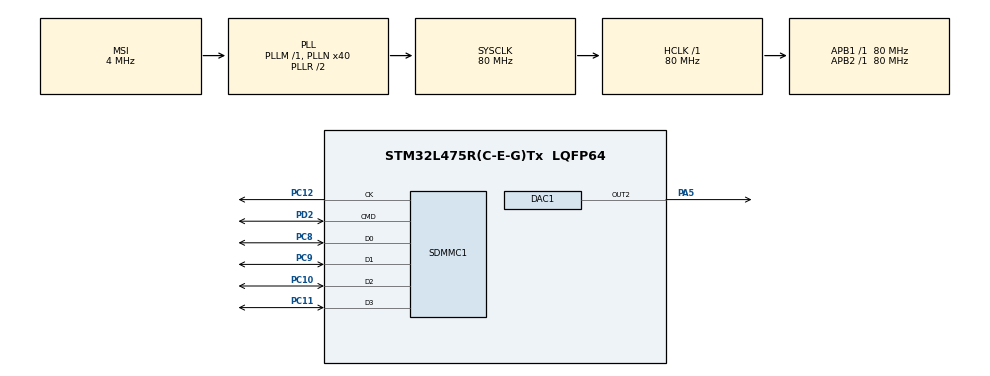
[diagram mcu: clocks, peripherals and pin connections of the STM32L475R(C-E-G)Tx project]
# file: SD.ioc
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DAC1.DAC_Channel-DAC_OUT2=DAC_CHANNEL_2
FATFS.USE_DMA_CODE_SD=0
FATFS._MAX_SS=4096
Mcu.Family=STM32L4
Mcu.Name=STM32L475R(C-E-G)Tx
Mcu.Package=LQFP64
NVIC.PriorityGroup=NVIC_PRIORITYGROUP_4
NVIC.SDMMC1_IRQn=true\:0\:0\:false\:false\:true\:true\:true
NVIC.TIM6_DAC_IRQn=true\:0\:0\:false\:false\:true\:true\:true
PA5.Signal=COMP_DAC12_group
PC10.GPIO_PuPd=GPIO_PULLUP
PC10.Mode=SD_4_bits_Wide_bus
PC10.Signal=SDMMC1_D2
PC11.GPIO_PuPd=GPIO_PULLUP
PC11.Mode=SD_4_bits_Wide_bus
PC11.Signal=SDMMC1_D3
PC12.Mode=SD_4_bits_Wide_bus
PC12.Signal=SDMMC1_CK
PC8.GPIO_PuPd=GPIO_PULLUP
PC8.Mode=SD_4_bits_Wide_bus
PC8.Signal=SDMMC1_D0
PC9.GPIO_PuPd=GPIO_PULLUP
PC9.Mode=SD_4_bits_Wide_bus
PC9.Signal=SDMMC1_D1
PD2.GPIO_PuPd=GPIO_PULLUP
PD2.Mode=SD_4_bits_Wide_bus
PD2.Signal=SDMMC1_CMD
ProjectManager.HeapSize=0x200
ProjectManager.StackSize=0x400
ProjectManager.TargetToolchain=TrueSTUDIO
RCC.ADCFreq_Value=32000000
RCC.AHBFreq_Value=80000000
RCC.APB1Freq_Value=80000000
RCC.APB1TimFreq_Value=80000000
RCC.APB2Freq_Value=80000000
RCC.APB2TimFreq_Value=80000000
RCC.CortexFreq_Value=80000000
RCC.HCLKFreq_Value=80000000
RCC.HSE_VALUE=8000000
RCC.HSI_VALUE=16000000
RCC.LSE_VALUE=32768
RCC.MSI_VALUE=4000000
RCC.PLLN=40
RCC.PLLSAI1N=16
RCC.SYSCLKFreq_VALUE=80000000
RCC.SYSCLKSource=RCC_SYSCLKSOURCE_PLLCLK
RCC.USBFreq_Value=32000000
RCC.VCOOutputFreq_Value=160000000
SH.COMP_DAC12_group.0=DAC1_OUT2,DAC_OUT2
TIM6.AutoReloadPreload=TIM_AUTORELOAD_PRELOAD_ENABLE
TIM6.Period=1
TIM6.Prescaler=2500
VP_FATFS_VS_SDIO.Mode=SDIO
VP_TIM6_VS_ClockSourceINT.Mode=Enable_Timer
board=SD

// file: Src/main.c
/* USER CODE BEGIN Header */
/**
  ******************************************************************************
  * @file           : main.c
  * @brief          : Main program body
  ******************************************************************************
  * @attention
  *
  * <h2><center>&copy; Copyright (c) 2019 STMicroelectronics.
  * All rights reserved.</center></h2>
  *
  * This software component is licensed by ST under Ultimate Liberty license
  * SLA0044, the "License"; You may not use this file except in compliance with
  * the License. You may obtain a copy of the License at:
  *                             www.st.com/SLA0044
  *
  ******************************************************************************
  */
/* USER CODE END Header */

#include "main.h"
#include "fatfs.h"

/* USER CODE BEGIN Includes */
#include <string.h>
/* USER CODE END Includes */

/* USER CODE BEGIN PTD */
//#define	DEBUG_VIEW_FREQ_IRQ
//#define	DEBUG_ANY_MANUAL_SIGNAL
#define	NORMAL_MODE
/* USER CODE END PTD */

/* USER CODE BEGIN PD */
//#define	DEBUG_TEST_READ_TEXT_FROM_SD
/* USER CODE END PD */

DAC_HandleTypeDef hdac1;

SD_HandleTypeDef hsd1;

TIM_HandleTypeDef htim6;

/* USER CODE BEGIN PV */
/* Private variables ---------------------------------------------------------*/
uint8_t curBufIdx = 0;
uint8_t wavBuf[2][WAV_BUF_SIZE];
uint16_t curBufOffset = 0;
uint8_t wavReadFlag = 0;
uint32_t wavDataSize = 0;
uint32_t curWavIdx = 0;
uint8_t stopFlag = 0;

FATFS fileSystem;
FIL audioFile;
uint32_t readBytes = 0;

/* USER CODE END PV */

void SystemClock_Config(void);
static void MX_GPIO_Init(void);
static void MX_SDMMC1_SD_Init(void);
static void MX_DAC1_Init(void);
static void MX_TIM6_Init(void);
/* USER CODE BEGIN PFP */
/* Private function prototypes -----------------------------------------------*/

/* USER CODE END PFP */

/* USER CODE BEGIN 0 */
#ifdef	DEBUG_TEST_READ_TEXT_FROM_SD
FATFS SDFatFs;  /* File system object for SD card logical drive */
FIL MyFile;     /* File object */
char SD_Path[4];  /* SD logical drive path */
#endif
uint16_t _val;
uint16_t _cnt;
#define STEP_VAL	1
#define MAX_VAL		0xFFF
/* USER CODE END 0 */

int main(void)
{
  /* USER CODE BEGIN 1 */
	_val = 0;
	int8_t _flag = 0;
  /* USER CODE END 1 */

  /* MCU Configuration--------------------------------------------------------*/

  /* Reset of all peripherals, Initializes the Flash interface and the Systick. */
  HAL_Init();

  /* Configure the system clock */
  SystemClock_Config();

  /* Initialize all configured peripherals */
  MX_GPIO_Init();
  MX_SDMMC1_SD_Init();
  MX_FATFS_Init();
  MX_DAC1_Init();
  MX_TIM6_Init();
  /* USER CODE BEGIN 2 */
#ifdef	NORMAL_MODE
  FRESULT res;
  FRESULT resTryMount;
  FRESULT resTryOpenFile;
  FRESULT resTryReadFile;
  resTryMount = f_mount(&fileSystem, SDPath, 1);
//  uint8_t path[] = "audio.wav";//шипение
  uint8_t path[] = "gardenss.wav";//v
//  uint8_t path[] = "gandenss22KHz.wav";
//  uint8_t path[] = "Dubstep.wav";//v
//  uint8_t path[] = "ClearDay.wav";//v
//  uint8_t path[] = "Ircastapianos8.wav";//x

  resTryOpenFile = f_open(&audioFile, (char*)path, FA_READ);
  //#2
  //Таким образом, находим позицию в буфере, которая соответствует символу ‘d’ и прибавляем к этому значению 8 (4 байта для ‘data’ и 4 байта для размера данных):
  uint16_t dataOffset = 0;
  resTryReadFile = f_read(&audioFile, wavBuf[0], WAV_BUF_SIZE, &readBytes);
  for (uint16_t i = 0; i < (WAV_BUF_SIZE - 3); i++)
  {
      if ((wavBuf[0][i] == 'd') && (wavBuf[0][i + 1] == 'a') &&
          (wavBuf[0][i + 2] == 't') && (wavBuf[0][i + 3] == 'a'))
      {
          dataOffset = i + 8;
          break;
      }
  }

  //#3
  //Заголовок обнаружен, перемещаем указатель FatFs для работы с файлом на аудио-данные и заодно определяем количество байт данных. Для этого вычитаем из общего размера файла размер заголовка:
  res = f_lseek(&audioFile, dataOffset);
  wavDataSize = f_size(&audioFile) - dataOffset;//[байт] длина полной последовательности аудио данных
  //#3
  //нужно быстро выводить данные на ЦАП. для этого сделаем буферизацию.
  //в два буфера wavBuf[0] и wavBuf[1] будем пихать массив данных из файла
  //когда выводим на ЦАП буфер 1 заполняем буфер 2 и наоборот
//  Реализуем этот механизм и, первым делом, заполняем оба буфера данными:
    res = f_read(&audioFile, wavBuf[0], WAV_BUF_SIZE, &readBytes);
    res = f_read(&audioFile, wavBuf[1], WAV_BUF_SIZE, &readBytes);
    //#5
#endif
//  Поскольку данные готовы, спокойно включаем DAC и TIM6 на генерацию прерываний:
    HAL_DAC_Start(&hdac1, DAC_CHANNEL_2);
    HAL_TIM_Base_Start_IT(&htim6);
  /* USER CODE END 2 */

  /* Infinite loop */
  /* USER CODE BEGIN WHILE */

#ifdef	DEBUG_TEST_READ_TEXT_FROM_SD
  //код проверки чтения SD карты
    uint8_t* bw;
    FRESULT res;
  res = f_mount(&SDFatFs, (TCHAR const*)SD_Path, 1);
	 if(res != FR_OK)
	    Error_Handler();
	  else
	  {
		  uint8_t arr[] = {0, 1, 2};
		  uint8_t arrrd[20];

		  res = f_open(&MyFile, "adr.txt", FA_READ|FA_WRITE);
		  res = f_read(&MyFile, arrrd, 10, bw);
		  res = f_write(&MyFile, arr, 3, bw);
//          if(f_open(&MyFile, ".\adr.txt", FA_READ) != FR_OK)
//                    Error_Handler();
//            else
//            {
//                          f_close(&MyFile);
//            }
	  }
#endif

  while (1)
  {
#ifdef	DEBUG_ANY_MANUAL_SIGNAL
//	  HAL_Delay(10);

//		if(_cnt < 2)
//			_cnt++;
//		else
//			_cnt = 0;
//
//		if(_cnt == 0)
//		{
			if(_flag == 0)
			{
				if(_val < MAX_VAL)
					_val = _val + STEP_VAL;
				else
					_flag = 1;

			}
			else
			{
				if(_val > 0)
					_val = _val - STEP_VAL;
				else
					_flag = 0;
			}

//		}
#endif
#ifdef	NORMAL_MODE
	  if (wavReadFlag == 1)
	  {
//		  все данные из буфера озвучены. буфер полошел к концу. его нужно обновить"

		  //если сейчас озвучивается буфер 1 то заполняется буфер 2, и наоборот
	      uint8_t readBufIdx = 0;
	      if (curBufIdx == 0)
	          readBufIdx = 1;
	      res = f_read(&audioFile, wavBuf[readBufIdx], WAV_BUF_SIZE, &readBytes);
	      wavReadFlag = 0;
	  }
	  //#
	  //Кроме того, сразу же в while(1) помещаем код, который отвечает за окончание воспроизведения, когда файл подошел к концу:
	  if (stopFlag == 1)
	  {
		  //просто закрываем файл
	      res = f_close(&audioFile);
	      stopFlag = 0;
	  }
#endif

    /* USER CODE END WHILE */

  }
}

void SystemClock_Config(void)
{
  RCC_OscInitTypeDef RCC_OscInitStruct = {0};
  RCC_ClkInitTypeDef RCC_ClkInitStruct = {0};
  RCC_PeriphCLKInitTypeDef PeriphClkInit = {0};

  /** Initializes the CPU, AHB and APB busses clocks
  */
  RCC_OscInitStruct.OscillatorType = RCC_OSCILLATORTYPE_MSI;
  RCC_OscInitStruct.MSIState = RCC_MSI_ON;
  RCC_OscInitStruct.MSICalibrationValue = 0;
  RCC_OscInitStruct.MSIClockRange = RCC_MSIRANGE_6;
  RCC_OscInitStruct.PLL.PLLState = RCC_PLL_ON;
  RCC_OscInitStruct.PLL.PLLSource = RCC_PLLSOURCE_MSI;
  RCC_OscInitStruct.PLL.PLLM = 1;
  RCC_OscInitStruct.PLL.PLLN = 40;
  RCC_OscInitStruct.PLL.PLLP = RCC_PLLP_DIV7;
  RCC_OscInitStruct.PLL.PLLQ = RCC_PLLQ_DIV2;
  RCC_OscInitStruct.PLL.PLLR = RCC_PLLR_DIV2;
  if (HAL_RCC_OscConfig(&RCC_OscInitStruct) != HAL_OK)
  {
    Error_Handler();
  }
  /** Initializes the CPU, AHB and APB busses clocks
  */
  RCC_ClkInitStruct.ClockType = RCC_CLOCKTYPE_HCLK|RCC_CLOCKTYPE_SYSCLK
                              |RCC_CLOCKTYPE_PCLK1|RCC_CLOCKTYPE_PCLK2;
  RCC_ClkInitStruct.SYSCLKSource = RCC_SYSCLKSOURCE_PLLCLK;
  RCC_ClkInitStruct.AHBCLKDivider = RCC_SYSCLK_DIV1;
  RCC_ClkInitStruct.APB1CLKDivider = RCC_HCLK_DIV1;
  RCC_ClkInitStruct.APB2CLKDivider = RCC_HCLK_DIV1;

  if (HAL_RCC_ClockConfig(&RCC_ClkInitStruct, FLASH_LATENCY_4) != HAL_OK)
  {
    Error_Handler();
  }
  PeriphClkInit.PeriphClockSelection = RCC_PERIPHCLK_SDMMC1;
  PeriphClkInit.Sdmmc1ClockSelection = RCC_SDMMC1CLKSOURCE_PLLSAI1;
  PeriphClkInit.PLLSAI1.PLLSAI1Source = RCC_PLLSOURCE_MSI;
  PeriphClkInit.PLLSAI1.PLLSAI1M = 1;
  PeriphClkInit.PLLSAI1.PLLSAI1N = 16;
  PeriphClkInit.PLLSAI1.PLLSAI1P = RCC_PLLP_DIV7;
  PeriphClkInit.PLLSAI1.PLLSAI1Q = RCC_PLLQ_DIV2;
  PeriphClkInit.PLLSAI1.PLLSAI1R = RCC_PLLR_DIV2;
  PeriphClkInit.PLLSAI1.PLLSAI1ClockOut = RCC_PLLSAI1_48M2CLK;
  if (HAL_RCCEx_PeriphCLKConfig(&PeriphClkInit) != HAL_OK)
  {
    Error_Handler();
  }
  /** Configure the main internal regulator output voltage
  */
  if (HAL_PWREx_ControlVoltageScaling(PWR_REGULATOR_VOLTAGE_SCALE1) != HAL_OK)
  {
    Error_Handler();
  }
}

static void MX_DAC1_Init(void)
{

  DAC_ChannelConfTypeDef sConfig = {0};

  /** DAC Initialization
  */
  hdac1.Instance = DAC1;
  if (HAL_DAC_Init(&hdac1) != HAL_OK)
  {
    Error_Handler();
  }
  /** DAC channel OUT2 config
  */
  sConfig.DAC_SampleAndHold = DAC_SAMPLEANDHOLD_DISABLE;
  sConfig.DAC_Trigger = DAC_TRIGGER_NONE;
  sConfig.DAC_OutputBuffer = DAC_OUTPUTBUFFER_ENABLE;
  sConfig.DAC_ConnectOnChipPeripheral = DAC_CHIPCONNECT_DISABLE;
  sConfig.DAC_UserTrimming = DAC_TRIMMING_FACTORY;
  if (HAL_DAC_ConfigChannel(&hdac1, &sConfig, DAC_CHANNEL_2) != HAL_OK)
  {
    Error_Handler();
  }

}

static void MX_SDMMC1_SD_Init(void)
{

  hsd1.Instance = SDMMC1;
  hsd1.Init.ClockEdge = SDMMC_CLOCK_EDGE_RISING;
  hsd1.Init.ClockBypass = SDMMC_CLOCK_BYPASS_DISABLE;
  hsd1.Init.ClockPowerSave = SDMMC_CLOCK_POWER_SAVE_DISABLE;
  hsd1.Init.BusWide = SDMMC_BUS_WIDE_1B;
  hsd1.Init.HardwareFlowControl = SDMMC_HARDWARE_FLOW_CONTROL_DISABLE;
  hsd1.Init.ClockDiv = 0;

}

static void MX_TIM6_Init(void)
{

  TIM_MasterConfigTypeDef sMasterConfig = {0};

  htim6.Instance = TIM6;
//  htim6.Init.Prescaler = 2500;
  htim6.Init.Prescaler = 1176;
  htim6.Init.CounterMode = TIM_COUNTERMODE_UP;
  htim6.Init.Period = 1;
  htim6.Init.AutoReloadPreload = TIM_AUTORELOAD_PRELOAD_ENABLE;
  if (HAL_TIM_Base_Init(&htim6) != HAL_OK)
  {
    Error_Handler();
  }
  sMasterConfig.MasterOutputTrigger = TIM_TRGO_RESET;
  sMasterConfig.MasterSlaveMode = TIM_MASTERSLAVEMODE_DISABLE;
  if (HAL_TIMEx_MasterConfigSynchronization(&htim6, &sMasterConfig) != HAL_OK)
  {
    Error_Handler();
  }

}

static void MX_GPIO_Init(void)
{

  /* GPIO Ports Clock Enable */
  __HAL_RCC_GPIOA_CLK_ENABLE();
  __HAL_RCC_GPIOC_CLK_ENABLE();
  __HAL_RCC_GPIOD_CLK_ENABLE();

}

/* USER CODE BEGIN 4 */
uint16_t _dacData;

void __attribute__((optimize("O0"))) UserTIM6IRQHandler(void)
{
#ifdef	DEBUG_VIEW_FREQ_IRQ
	HAL_DAC_SetValue(&hdac1, DAC_CHANNEL_2, DAC_ALIGN_12B_R, 0xFFFF);
	asm("nop");
	asm("nop");
	asm("nop");
	asm("nop");
	asm("nop");
	HAL_DAC_SetValue(&hdac1, DAC_CHANNEL_2, DAC_ALIGN_12B_R, 0);
#endif
#ifdef	DEBUG_ANY_MANUAL_SIGNAL

	HAL_DAC_SetValue(&hdac1, DAC_CHANNEL_2, DAC_ALIGN_12B_R, _val);
#endif
#ifdef	NORMAL_MODE

    _dacData = (((wavBuf[curBufIdx][curBufOffset + 1] << 8) | wavBuf[curBufIdx][curBufOffset]) + 32767);
    _dacData /= 16;
    HAL_DAC_SetValue(&hdac1, DAC_CHANNEL_2, DAC_ALIGN_12B_R, _dacData);

    //на каждом такте используем забираем и озвучиваем 2 байта из массива аудио данных
    curBufOffset += 2;//номер текущего байта в буфере, этот счетчик, соответственно, будет изменяться от 0 до 512.
    curWavIdx += 2;//общий счетчик байт wav-файла. Его мы используем, чтобы обнаружить конец трека и остановить воспроизведение.

    if (curWavIdx >= wavDataSize)
    {
    	//все данные озвучены, останавливаем процесс
        HAL_TIM_Base_Stop_IT(&htim6);
        stopFlag = 1;
    }
    else
    {
    	//#
    	//Если конец файла еще не достигнут, то проверяем счетчик curBufOffset. Если значение равно 512 (WAV_BUF_SIZE), то буфер подошел к концу, а значит надо изменить номер активного буфера и выставить флаг wavReadFlag:

        if (curBufOffset == WAV_BUF_SIZE)
        {
            curBufOffset = 0;

            //смена текущего рабочего буфера из которого нужно озвучивать
            if (curBufIdx == 0)
                curBufIdx = 1;
            else
                curBufIdx = 0;

            wavReadFlag = 1;//флаг = "все данные из буфера озвучены. буфер полошел к концу. его нужно обновить"
        }
    }

#endif
}
/* USER CODE END 4 */

void Error_Handler(void)
{
  while(1)
  {
  }
}

/************************ (C) COPYRIGHT STMicroelectronics *****END OF FILE****/
